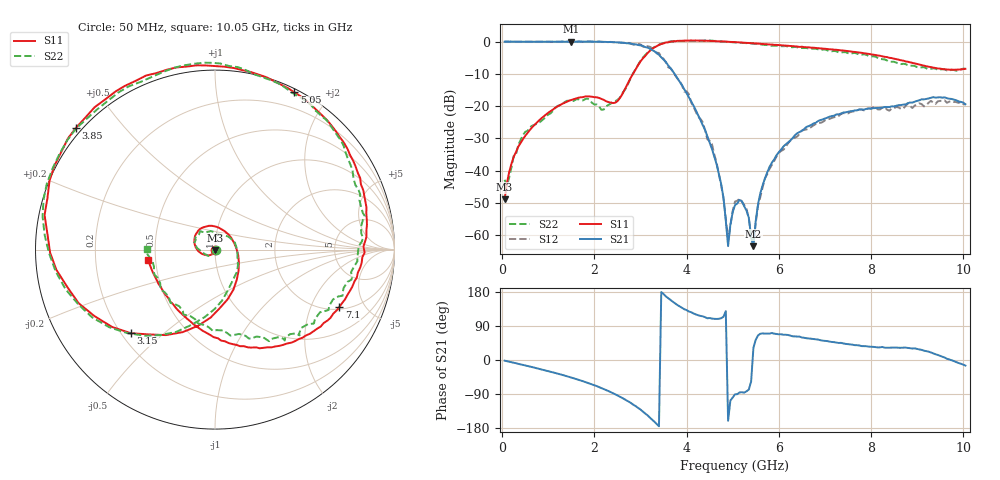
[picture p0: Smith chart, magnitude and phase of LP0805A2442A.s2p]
! AVX THIN FILM OPERATION
! 0805 Size Low Pass Filter P/N  LP0805A2442AWTR
! Network Analyzer HP8720ES.07.64: Feb 23, 2000 Serial No. US39172382
! Hewlett-Packard
!  2 Feb 2003  04:38:51
! Frequency  S11  S21  S12  S22
# HZ  S  DB R  50
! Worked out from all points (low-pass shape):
!   201 points, 50 MHz to 10.05 GHz, reference 50 ohm
!   highest |S21| = 0.00 dB at 1.5 GHz (marker M1); lowest = -63.4 dB at 5.45 GHz (marker M2)
!   |S21| within 3 dB of the highest: start of sweep to 3.302 GHz
!   lowest |S11| = -48.9 dB at 50 MHz (marker M3), VSWR 1.01, Z = 50.1 - j0.343 ohm
!   |S11| at or under -10 dB: start of sweep to 2.836 GHz
!   |S22| runs from -44.8 to 0.4 dB; largest |S21 - S12| = 0.06
!   S11 on the Smith chart (normalised r, x): 50 MHz: 1.00, -0.01; 3.15 GHz: 0.24, -0.39; 3.85 GHz: -0.02, +0.38; 5.05 GHz: 0.03, +1.62; 7.1 GHz: 2.12, -3.24; 10.05 GHz: 0.45, -0.06
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5e7  -48.95 -73.8  -0.02 -1.8  0.02 -1.5  -42.85 -2.3
2e8  -37.80 -99.1  -0.00 -6.0  -0.01 -5.9  -38.92 -106.5
4.5e8  -30.21 -121.7  -0.04 -13.0  -0.03 -13.0  -28.92 -123.5
1.5e9  -18.07 157.2  -0.00 -46.4  -0.02 -46.6  -18.42 158.5
1.75e9  -17.21 136.4  -0.02 -55.9  -0.08 -56.1  -18.23 137.1
2.2e9  -18.05 81.9  -0.05 -76.4  -0.09 -76.9  -21.07 63.1
2.7e9  -13.64 -54.4  -0.51 -107.0  -0.40 -106.9  -14.08 -59.8
3.15e9  -3.60 -135.2  -1.82 -145.7  -1.40 -143.3  -3.44 -136.2
3.4e9  -1.00 -172.7  -4.09 -174.9  -3.52 -176.3  -0.95 -172.2
3.85e9  0.25 138.8  -12.45 141.5  -12.15 140.8  0.23 138.9
4.65e9  0.15 84.2  -37.99 108.3  -37.49 105.8  0.21 82.8
4.8e9  0.04 76.0  -48.42 114.2  -48.63 117.4  -0.03 74.7
4.9e9  -0.04 70.8  -63.41 -160.3  -61.48 -161.8  -0.07 69.3
5.05e9  -0.17 63.2  -50.71 -90.5  -49.61 -94.9  -0.25 61.3
5.3e9  -0.39 51.1  -52.42 -82.6  -51.92 -82.6  -0.43 49.2
5.45e9  -0.52 44.1  -63.44 32.4  -63.04 11.2  -0.61 42.8
5.55e9  -0.60 39.5  -50.44 64.9  -50.87 57.9  -0.72 38.8
5.8e9  -0.88 28.2  -38.84 69.8  -39.44 66.5  -1.23 27.3
6.75e9  -1.88 -11.2  -25.41 55.1  -26.00 54.5  -2.17 -11.6
7.1e9  -2.36 -24.8  -23.28 48.6  -23.97 46.7  -2.93 -22.9
8.4e9  -5.01 -73.4  -20.30 32.6  -21.42 27.6  -6.22 -74.1
1.005e10  -8.45 -171.0  -19.40 -14.7  -19.50 -10.7  -8.40 179.9
